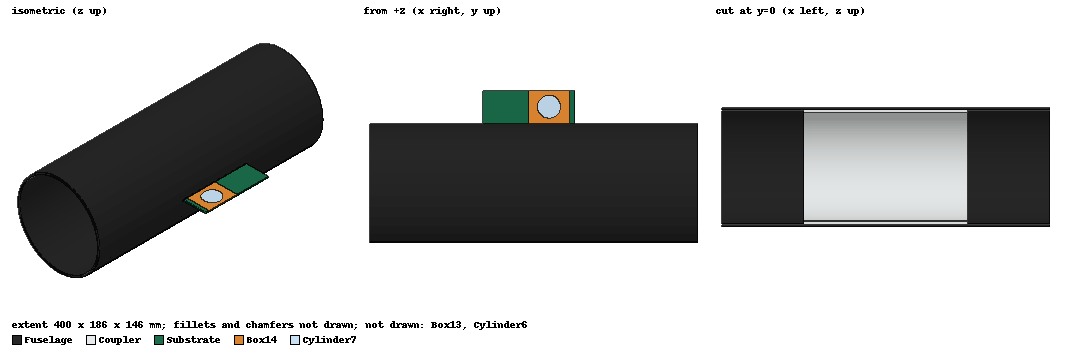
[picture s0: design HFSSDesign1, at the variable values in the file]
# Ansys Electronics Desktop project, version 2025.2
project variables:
  $Radius = 73mm
  $length = 16mm
  $width = 16mm
  $Indent = 7mm
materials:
  vacuum: permittivity=1
  copper: permeability=0.999991 conductivity=58000000
  air: permittivity=1.0006 permeability=1.0000004
  graphite: conductivity=70000
  FR4_epoxy: permittivity=4.4 dielectric_loss_tangent=0.02
  cast_iron: permeability=60 conductivity=1500000
  CF - Carbon fiber: conductivity=252.337
  aluminum: permeability=1.000021 conductivity=38000000

design HFSSDesign1 (HFSS, HFSS Terminal Network, model units mm)
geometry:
  Substrate [FR4_epoxy] = box(corner=(50mm, $Radius, 0.8mm), size=((-4.5*25) mm, 40mm, -1.6mm))
  Fuselage [CF - Carbon fiber] = cylinder(axis=X, base_centre=(-200mm, 0mm, 0mm), radius=73mm, height=400mm, segments=32)
  Cylinder3 = cylinder(axis=X, base_centre=(200mm, 0mm, 0mm), radius=70mm, height=-400mm)
  Fuselage.subtract(Cylinder3)
  Box13 [air] = box(corner=(-250mm, 200mm, 100mm), size=(500mm, -400mm, -200mm))
  Coupler [aluminum] = cylinder(axis=X, base_centre=(-100mm, 0mm, 0mm), radius=70mm, height=200mm, segments=32)
  Cylinder5 = cylinder(axis=X, base_centre=(100mm, 0mm, 0mm), radius=66.5mm, height=-200mm)
  Coupler.subtract(Cylinder5)
  Substrate.chamfer(Edges=Substrate.edge(at (-62.5, 113, 0)) LeftDistance=40mm RightDistance="(2.25*25) mm" ChamferType="Left Distance-Right Distance" ChamferAdditionalGeometryInfo{ChamferEdgeGeometryInfo{ChamferEdgeID=1342 ChamferEdgeSense ChamferEdgeStart{X=-62.5mm Y=113mm Z=0.8mm} ChamferEdgeEnd{X=-62.5mm Y=113mm Z=-0.8mm} ChamferEdgeMid{X=-62.5mm Y=113mm Z=0mm} ChamferEdgeMidTangent(0, 0, -1)}})
  Substrate.chamfer(Edges=Substrate.edge(at (50, 113, 0)) LeftDistance=6.25mm RightDistance=40mm ChamferType="Left Distance-Right Distance" ChamferAdditionalGeometryInfo{ChamferEdgeGeometryInfo{ChamferEdgeID=1343 ChamferEdgeSense ChamferEdgeStart{X=50mm Y=113mm Z=0.8mm} ChamferEdgeEnd{X=50mm Y=113mm Z=-0.8mm} ChamferEdgeMid{X=50mm Y=113mm Z=0mm} ChamferEdgeMidTangent(0, 0, -1)}})
  coordinate_system RelativeCS1 = origin=(-6.25mm, 73mm, 0.8mm) x=(1mm, 0mm, 0mm) y=(0mm, 1mm, 0mm)
  Box14 [copper] = box(corner=(0mm, 0mm, 0mm), size=(50mm, 40mm, 0.035mm)) in RelativeCS1
  Cylinder6 [vacuum] = cylinder(axis=Z, base_centre=(25mm, 20mm, 0mm), radius=16mm, height=0.035mm) in RelativeCS1
  Cylinder7 [vacuum] = cylinder(axis=Z, base_centre=(25mm, 20mm, 0mm), radius=14mm, height=0.035mm) in RelativeCS1
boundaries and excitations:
  Rad1: Radiation Objects=Box13
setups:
  Setup1: HfssDriven Frequency=915MHz MaxDeltaE=0.1 MaximumPasses=10 MinimumPasses=1 MinimumConvergedPasses=1 PercentRefinement=30 BasisOrder=1 DrivenSolverType="Direct Solver"
    sweep Sweep: 500MHz to 1200MHz, 120 points; Type=Discrete SaveFields SaveRadFields
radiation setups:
  Infinite Sphere1: Infinite Sphere Theta=0deg..180deg step 2deg Phi=-180deg..180deg step 2deg
